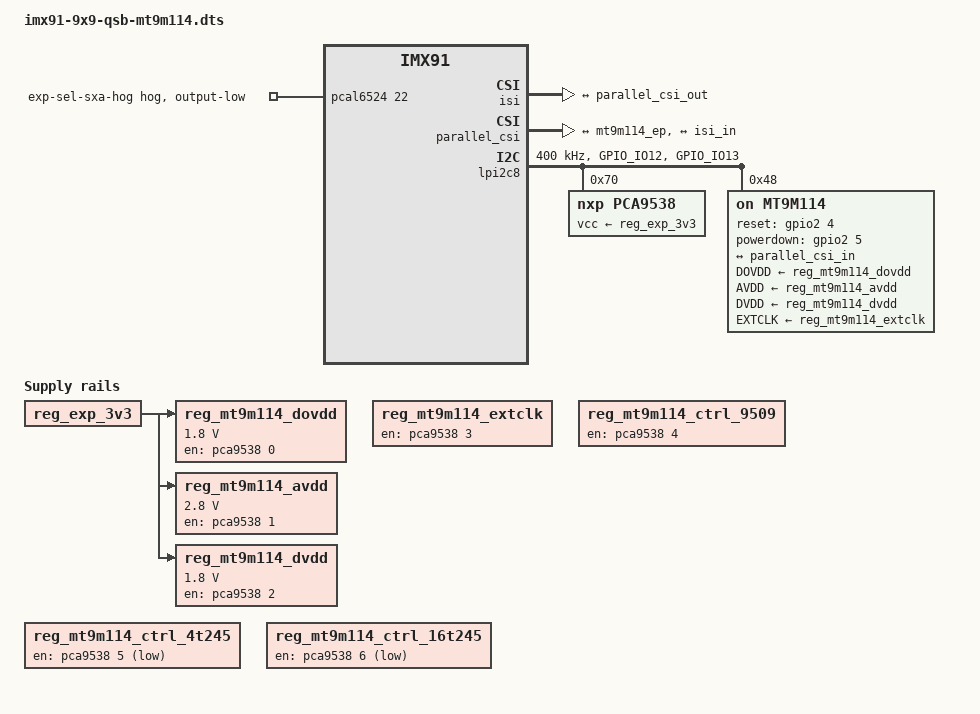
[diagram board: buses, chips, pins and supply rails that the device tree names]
// SPDX-License-Identifier: (GPL-2.0+ OR MIT)
/*
 * Copyright 2024 NXP
 */

#include "imx91-9x9-qsb.dts"
#include <dt-bindings/media/video-interfaces.h>

/ {
	reg_mt9m114_dovdd: regulator-mt9m114-dovdd {
		compatible = "regulator-fixed";
		regulator-name = "mt9m114-dovdd";
		regulator-min-microvolt = <1800000>;
		regulator-max-microvolt = <1800000>;
		startup-delay-us = <0>;
		off-on-delay-us  = <1000>;
		gpio = <&pca9538 0 GPIO_ACTIVE_HIGH>;
		vin-supply = <&reg_exp_3v3>;
		enable-active-high;
	};

	reg_mt9m114_avdd: regulator-mt9m114-avdd {
		compatible = "regulator-fixed";
		regulator-name = "mt9m114-avdd";
		regulator-min-microvolt = <2800000>;
		regulator-max-microvolt = <2800000>;
		startup-delay-us = <200>;
		off-on-delay-us  = <500>;
		gpio = <&pca9538 1 GPIO_ACTIVE_HIGH>;
		vin-supply = <&reg_exp_3v3>;
		enable-active-high;
	};

	reg_mt9m114_dvdd: regulator-mt9m114-dvdd {
		compatible = "regulator-fixed";
		regulator-name = "mt9m114-dvdd";
		regulator-min-microvolt = <1800000>;
		regulator-max-microvolt = <1800000>;
		startup-delay-us = <500>;
		off-on-delay-us  = <200>;
		gpio = <&pca9538 2 GPIO_ACTIVE_HIGH>;
		vin-supply = <&reg_exp_3v3>;
		enable-active-high;
	};

	reg_mt9m114_extclk: regulator-mt9m114-extclk {
		compatible = "regulator-fixed";
		regulator-name = "mt9m114-extclk";
		startup-delay-us = <10000>;
		off-on-delay-us  = <200>;
		gpio = <&pca9538 3 GPIO_ACTIVE_HIGH>;
		enable-active-high;
	};

	reg_mt9m114_ctrl_9509: regulator-mt9m114-ctrl-9509 {
		compatible = "regulator-fixed";
		regulator-name = "mt9m114-ctrl-9509";
		gpio = <&pca9538 4 GPIO_ACTIVE_HIGH>;
		enable-active-high;
		regulator-always-on;
	};

	reg_mt9m114_ctrl_4t245: regulator-mt9m114-ctrl-4t245 {
		compatible = "regulator-fixed";
		regulator-name = "mt9m114-ctrl-4t245";
		startup-delay-us = <10000>;
		off-on-delay-us  = <200>;
		gpio = <&pca9538 5 GPIO_ACTIVE_HIGH>;
		enable-active-low;
	};

	reg_mt9m114_ctrl_16t245: regulator-mt9m114-ctrl-16t245 {
		compatible = "regulator-fixed";
		regulator-name = "mt9m114-ctrl-16t245";
		gpio = <&pca9538 6 GPIO_ACTIVE_HIGH>;
		enable-active-low;
		regulator-always-on;
	};
};

&iomuxc {
	pinctrl_parallel_csi: ci_pi {
		fsl,pins = <
			MX91_PAD_GPIO_IO01__MEDIAMIX_CAM_DATA0		0xb9e
			MX91_PAD_GPIO_IO07__MEDIAMIX_CAM_DATA1		0xb9e
			MX91_PAD_GPIO_IO08__MEDIAMIX_CAM_DATA2		0xb9e
			MX91_PAD_GPIO_IO09__MEDIAMIX_CAM_DATA3		0xb9e
			MX91_PAD_GPIO_IO10__MEDIAMIX_CAM_DATA4		0xb9e
			MX91_PAD_GPIO_IO11__MEDIAMIX_CAM_DATA5		0xb9e
			MX91_PAD_GPIO_IO14__MEDIAMIX_CAM_DATA6		0xb9e
			MX91_PAD_GPIO_IO15__MEDIAMIX_CAM_DATA7		0xb9e
			MX91_PAD_GPIO_IO17__MEDIAMIX_CAM_DATA8		0xb9e
			MX91_PAD_GPIO_IO18__MEDIAMIX_CAM_DATA9		0xb9e

			MX91_PAD_GPIO_IO00__MEDIAMIX_CAM_CLK		0xb9e
			MX91_PAD_GPIO_IO02__MEDIAMIX_CAM_VSYNC		0xb9e
			MX91_PAD_GPIO_IO03__MEDIAMIX_CAM_HSYNC		0xb9e
			MX91_PAD_GPIO_IO05__GPIO2_IO5			0x31e
			MX91_PAD_GPIO_IO04__GPIO2_IO4			0x31e
		>;
	};

	pinctrl_lpi2c8: lpi2c8grp {
		fsl,pins = <
			MX91_PAD_GPIO_IO12__LPI2C8_SDA		0x40000b9e
			MX91_PAD_GPIO_IO13__LPI2C8_SCL		0x40000b9e
		>;
	};
};

&isi{
	status = "okay";

	port {
		isi_in: endpoint {
			remote-endpoint = <&parallel_csi_out>;
		};
	};
};

&parallel_csi {
	status = "okay";

	ports {
		port@0 {
			reg = <0>;

			parallel_csi_in: endpoint {
				remote-endpoint = <&mt9m114_ep>;
			};
		};

		port@1 {
			reg = <1>;

			parallel_csi_out: endpoint {
				remote-endpoint = <&isi_in>;
			};
		};
	};
};

&pcal6524 {
	exp-sel-sxa-hog {
		gpio-hog;
		gpios = <22 GPIO_ACTIVE_HIGH>;
		output-low;
	};
};

&lpi2c8 {
	clock-frequency = <400000>;
	pinctrl-names = "default";
	pinctrl-0 = <&pinctrl_lpi2c8>;
	status = "okay";

	pca9538: gpio@70 {
		compatible = "nxp,pca9538";
		reg = <0x70>;
		gpio-controller;
		#gpio-cells = <2>;
		vcc-supply = <&reg_exp_3v3>;
		status = "okay";
	};

	mt9m114: mt9m114@48 {
		compatible = "on,mt9m114";
		reg = <0x48>;
		pinctrl-names    = "default";
		pinctrl-0        = <&pinctrl_parallel_csi>;
		reset-gpios      = <&gpio2 4 GPIO_ACTIVE_HIGH>;
		powerdown-gpios  = <&gpio2 5 GPIO_ACTIVE_HIGH>;
		DOVDD-supply     = <&reg_mt9m114_dovdd>;
		AVDD-supply      = <&reg_mt9m114_avdd>;
		DVDD-supply      = <&reg_mt9m114_dvdd>;
		EXTCLK-supply    = <&reg_mt9m114_extclk>;
		CTRL_4T245-supply    = <&reg_mt9m114_ctrl_4t245>;
		mclk             = <27000000>;
		status = "okay";

		port {
			mt9m114_ep: endpoint {
				remote-endpoint = <&parallel_csi_in>;
				bus-type = <MEDIA_BUS_TYPE_PARALLEL>;
				bus-width = <8>;
				vsync-active = <1>;
				hsync-active = <1>;
				pclk-sample = <1>;
			};
		};
	};
};

